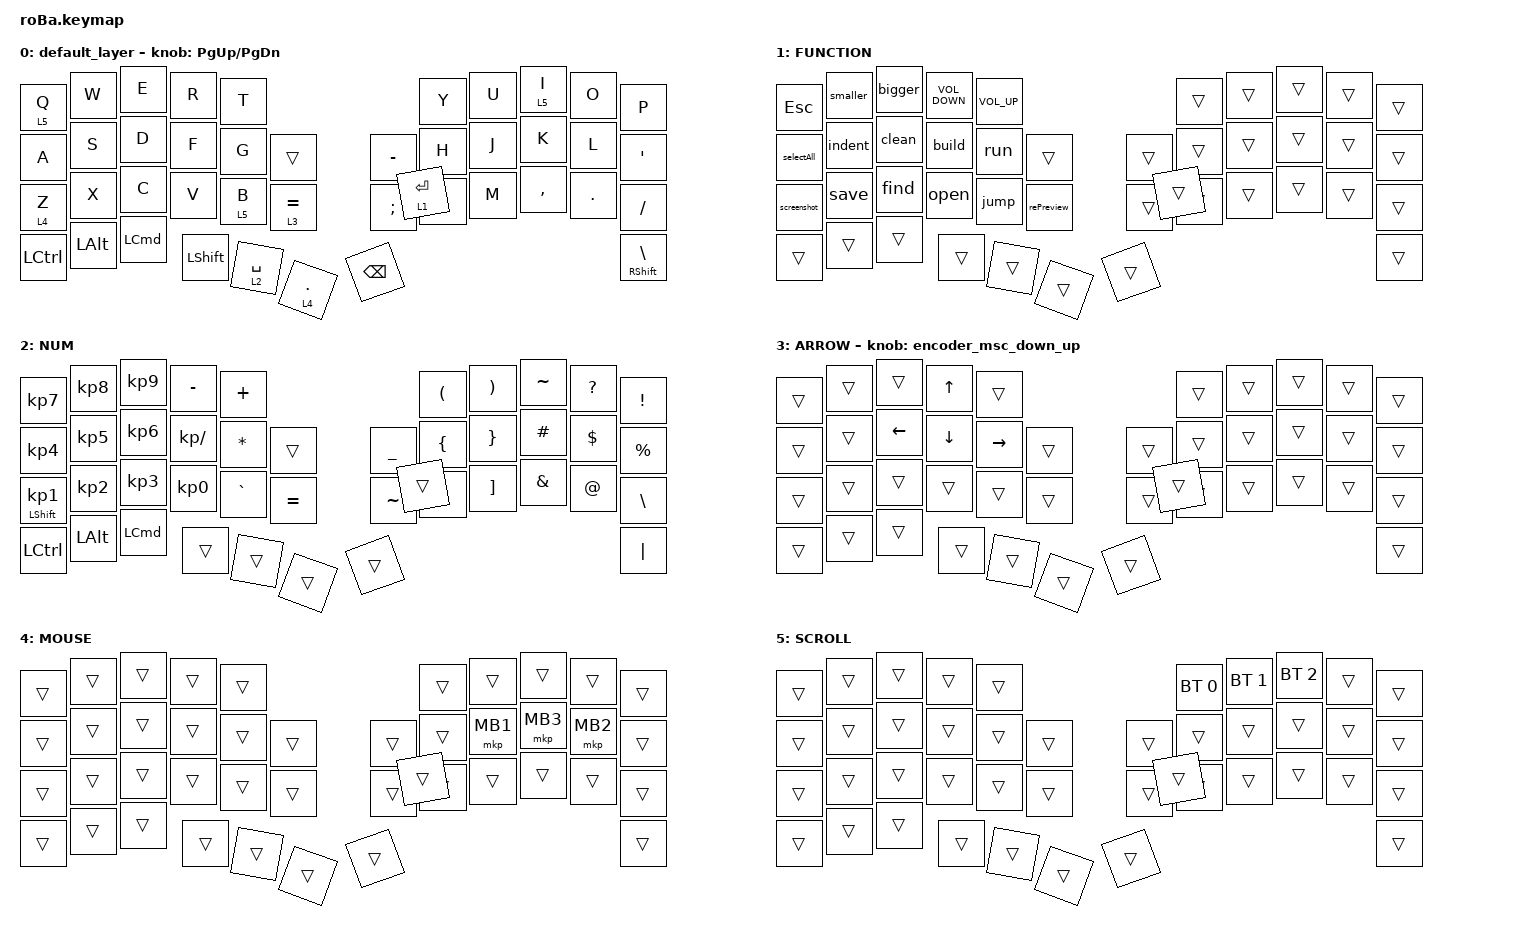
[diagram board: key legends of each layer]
#define ZMK_POINTING_DEFAULT_SCRL_VAL 2
#define MOUSE 4
#define SCROLL 5
#define NUM 6

#include <behaviors.dtsi>
#include <dt-bindings/zmk/bt.h>
#include <dt-bindings/zmk/keys.h>
#include <dt-bindings/zmk/pointing.h>

&mt {
    flavor = "balanced";
    quick-tap-ms = <0>;
};

&trackball {
    automouse-layer = <4>;
    scroll-layers = <5>;

    // arrows {
    //     layers = <3>;
    //     bindings =
    //         <&kp RIGHT_ARROW>,
    //         <&kp LEFT_ARROW>,
    //         <&kp UP_ARROW>,
    //         <&kp DOWN_ARROW>;

    //     tick = <10>;
    //     wait-ms = <5>;
    //     tap-ms = <5>;
    // };
};

/ {
    combos {
        compatible = "zmk,combos";

        tab {
            bindings = <&kp TAB>;
            key-positions = <11 10>;
        };

        esc {
            bindings = <&kp ESC>;
            key-positions = <0 1>;
        };

        mission_controll {
            bindings = <&mission_controll>;
            key-positions = <22 23>;
        };

        raycast {
            bindings = <&raycast>;
            key-positions = <33 32>;
        };

        quoto {
            bindings = <&kp DOUBLE_QUOTES>;
            key-positions = <21 20>;
        };
    };

    macros {
        to_layer_0: to_layer_0 {
            compatible = "zmk,behavior-macro-one-param";
            #binding-cells = <1>;
            bindings = <&to 0 &macro_param_1to1 &kp MACRO_PLACEHOLDER>;
            label = "TO_LAYER_0";
        };

        screenshot: screenshot {
            compatible = "zmk,behavior-macro";
            #binding-cells = <0>;
            bindings =
                <&macro_press>,
                <&kp LEFT_COMMAND>,
                <&macro_tap>,
                <&kp NUMBER_3>,
                <&macro_release>,
                <&kp LEFT_COMMAND>;

            label = "SCREENSHOT";
        };

        bigger: bigger {
            compatible = "zmk,behavior-macro";
            #binding-cells = <0>;
            bindings =
                <&macro_press>,
                <&kp LEFT_COMMAND>,
                <&macro_tap>,
                <&kp PLUS>,
                <&macro_release>,
                <&kp LEFT_COMMAND>;

            label = "BIGGER";
        };

        smaller: smaller {
            compatible = "zmk,behavior-macro";
            #binding-cells = <0>;
            bindings =
                <&macro_press>,
                <&kp LEFT_COMMAND>,
                <&macro_tap>,
                <&kp MINUS>,
                <&macro_release>,
                <&kp LEFT_COMMAND>;

            label = "SMALLER";
        };

        build: build {
            compatible = "zmk,behavior-macro";
            #binding-cells = <0>;
            bindings =
                <&macro_press>,
                <&kp LEFT_COMMAND>,
                <&macro_tap>,
                <&kp B>,
                <&macro_release>,
                <&kp LEFT_COMMAND>;

            label = "BUILD";
        };

        run: run {
            compatible = "zmk,behavior-macro";
            #binding-cells = <0>;
            bindings =
                <&macro_press>,
                <&kp LEFT_COMMAND>,
                <&macro_tap>,
                <&kp R>,
                <&macro_release>,
                <&kp LEFT_COMMAND>;

            label = "RUN";
        };

        indent: indent {
            compatible = "zmk,behavior-macro";
            #binding-cells = <0>;
            bindings =
                <&macro_press>,
                <&kp LEFT_CONTROL>,
                <&macro_tap>,
                <&kp I>,
                <&macro_release>,
                <&kp LEFT_CONTROL>;

            label = "INDENT";
        };

        selectAll: selectAll {
            compatible = "zmk,behavior-macro";
            #binding-cells = <0>;
            bindings =
                <&macro_press>,
                <&kp LEFT_COMMAND>,
                <&macro_tap>,
                <&kp A>,
                <&macro_release>,
                <&kp LEFT_COMMAND>;

            label = "SELECTALL";
        };

        clean: crean {
            compatible = "zmk,behavior-macro";
            #binding-cells = <0>;
            bindings =
                <&macro_press>,
                <&kp LEFT_COMMAND &kp LEFT_SHIFT>,
                <&macro_tap>,
                <&kp K>,
                <&macro_release>,
                <&kp LEFT_COMMAND &kp LEFT_SHIFT>;

            label = "CREAN";
        };

        open: open {
            compatible = "zmk,behavior-macro";
            #binding-cells = <0>;
            bindings =
                <&macro_press>,
                <&kp LEFT_COMMAND &kp LEFT_SHIFT>,
                <&macro_tap>,
                <&kp O>,
                <&macro_release>,
                <&kp LEFT_COMMAND &kp LEFT_SHIFT>;

            label = "OPEN";
        };

        rePreview: rePreview {
            compatible = "zmk,behavior-macro";
            #binding-cells = <0>;
            bindings =
                <&macro_press>,
                <&kp LEFT_COMMAND>,
                <&macro_tap>,
                <&kp P>,
                <&macro_release>,
                <&kp LEFT_COMMAND>;

            label = "REPREVIEW";
        };

        find: find {
            compatible = "zmk,behavior-macro";
            #binding-cells = <0>;
            bindings =
                <&macro_press>,
                <&kp LEFT_COMMAND>,
                <&macro_tap>,
                <&kp F>,
                <&macro_release>,
                <&kp LEFT_COMMAND>;

            label = "FIND";
        };

        save: save {
            compatible = "zmk,behavior-macro";
            #binding-cells = <0>;
            bindings =
                <&macro_press>,
                <&kp LEFT_COMMAND>,
                <&macro_tap>,
                <&kp S>,
                <&macro_release>,
                <&kp LEFT_COMMAND>;

            label = "SAVE";
        };

        jump: jump {
            compatible = "zmk,behavior-macro";
            #binding-cells = <0>;
            bindings =
                <&macro_press>,
                <&kp LEFT_COMMAND>,
                <&macro_tap>,
                <&kp J>,
                <&macro_release>,
                <&kp LEFT_COMMAND>;

            label = "JUMP";
        };

        mission_controll: mission_controll {
            compatible = "zmk,behavior-macro";
            #binding-cells = <0>;
            bindings =
                <&macro_press>,
                <&kp LEFT_CONTROL>,
                <&macro_tap>,
                <&kp UP>,
                <&macro_release>,
                <&kp LEFT_CONTROL>;

            label = "MISSION_CONTROLL";
        };

        raycast: raycast {
            compatible = "zmk,behavior-macro";
            #binding-cells = <0>;
            bindings =
                <&macro_press>,
                <&kp LEFT_ALT>,
                <&macro_tap>,
                <&kp SPACE>,
                <&macro_release>,
                <&kp LEFT_ALT>;

            label = "RAYCAST";
        };

        translate: translate {
            compatible = "zmk,behavior-macro";
            #binding-cells = <0>;
            bindings =
                <&macro_press>,
                <&kp LEFT_CONTROL>,
                <&macro_tap>,
                <&kp SPACE>,
                <&macro_release>,
                <&kp LEFT_CONTROL>;

            label = "TRANSLATE";
        };
    };

    behaviors {
        lt_to_layer_0: lt_to_layer_0 {
            compatible = "zmk,behavior-hold-tap";
            label = "LAYER_TAP_TO_0";
            bindings = <&mo>, <&to_layer_0>;

            #binding-cells = <2>;
            tapping-term-ms = <200>;
        };

        encoder_msc_down_up: encoder_msc_down_up {
            compatible = "zmk,behavior-sensor-rotate";
            label = "ENCODER_MSC_DOWN_UP";
            #sensor-binding-cells = <0>;
            bindings = <&msc SCRL_DOWN>, <&msc SCRL_UP>;

            tap-ms = <3>;
        };
    };

    keymap {
        compatible = "zmk,keymap";

        default_layer {
            bindings = <
&lt 5 Q             &kp W         &kp E             &kp R           &kp T                                         &kp Y        &kp U  &lt 5 I    &kp O    &kp P
&kp A               &kp S         &kp D             &kp F           &kp G        &trans            &kp MINUS      &kp H        &kp J  &kp K      &kp L    &kp SQT
&lt_to_layer_0 4 Z  &kp X         &kp C             &kp V           &lt 5 B      &lt 3 EQUAL       &kp SEMICOLON  &kp N        &kp M  &kp COMMA  &kp DOT  &kp SLASH
&kp LCTRL           &kp LEFT_ALT  &kp LEFT_COMMAND  &kp LEFT_SHIFT  &lt 2 SPACE  &lt 4 PERIOD      &kp BACKSPACE  &lt 1 ENTER                             &mt RIGHT_SHIFT BACKSLASH
            >;

            sensor-bindings = <&inc_dec_kp PG_UP PAGE_DOWN>;
        };

        FUNCTION {
            bindings = <
&kp ESC      &smaller  &bigger  &kp C_VOLUME_DOWN  &kp C_VOL_UP                          &trans  &trans  &trans  &trans  &trans
&selectAll   &indent   &clean   &build             &run          &trans          &trans  &trans  &trans  &trans  &trans  &trans
&screenshot  &save     &find    &open              &jump         &rePreview      &trans  &trans  &trans  &trans  &trans  &trans
&trans       &trans    &trans   &trans             &trans        &trans          &trans  &trans                          &trans
            >;
        };

        NUM {
            bindings = <
&kp KP_NUMBER_7             &kp KP_NUMBER_8  &kp KP_NUMBER_9   &kp MINUS        &kp PLUS                                     &kp LEFT_PARENTHESIS  &kp RIGHT_PARENTHESIS  &kp TILDE      &kp QUESTION  &kp EXCLAMATION
&kp KP_NUMBER_4             &kp KP_NUMBER_5  &kp KP_NUMBER_6   &kp KP_DIVIDE    &kp ASTERISK  &trans         &kp UNDERSCORE  &kp LEFT_BRACE        &kp RIGHT_BRACE        &kp HASH       &kp DOLLAR    &kp PERCENT
&mt LEFT_SHIFT KP_NUMBER_1  &kp KP_NUMBER_2  &kp KP_NUMBER_3   &kp KP_NUMBER_0  &kp GRAVE     &kp EQUAL      &kp TILDE       &kp LEFT_BRACKET      &kp RIGHT_BRACKET      &kp AMPERSAND  &kp AT_SIGN   &kp BACKSLASH
&kp LEFT_CONTROL            &kp LEFT_ALT     &kp LEFT_COMMAND  &trans           &trans        &trans         &trans          &trans                                                                    &kp PIPE
            >;
        };

        ARROW {
            bindings = <
&trans  &trans  &trans    &kp UP    &trans                         &trans  &trans  &trans  &trans  &trans
&trans  &trans  &kp LEFT  &kp DOWN  &kp RIGHT  &trans      &trans  &trans  &trans  &trans  &trans  &trans
&trans  &trans  &trans    &trans    &trans     &trans      &trans  &trans  &trans  &trans  &trans  &trans
&trans  &trans  &trans    &trans    &trans     &trans      &trans  &trans                          &trans
            >;

            sensor-bindings = <&encoder_msc_down_up>;
        };

        MOUSE {
            bindings = <
&trans  &trans  &trans  &trans  &trans                      &trans  &trans    &trans    &trans    &trans
&trans  &trans  &trans  &trans  &trans  &trans      &trans  &trans  &mkp MB1  &mkp MB3  &mkp MB2  &trans
&trans  &trans  &trans  &trans  &trans  &trans      &trans  &trans  &trans    &trans    &trans    &trans
&trans  &trans  &trans  &trans  &trans  &trans      &trans  &trans                                &trans
            >;
        };

        SCROLL {
            bindings = <
&trans  &trans  &trans  &trans  &trans                      &bt BT_SEL 0  &bt BT_SEL 1  &bt BT_SEL 2  &trans  &trans
&trans  &trans  &trans  &trans  &trans  &trans      &trans  &trans        &trans        &trans        &trans  &trans
&trans  &trans  &trans  &trans  &trans  &trans      &trans  &trans        &trans        &trans        &trans  &trans
&trans  &trans  &trans  &trans  &trans  &trans      &trans  &trans                                            &trans
            >;
        };
    };
};
